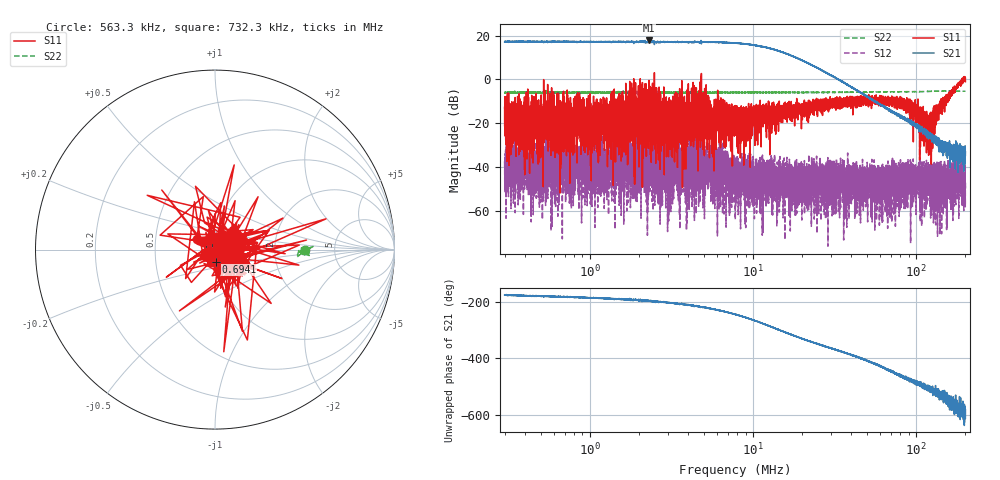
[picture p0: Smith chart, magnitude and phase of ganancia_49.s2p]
# Hz S DB R 50
! CMT, M5065, 19127446, 24.2.4/2
! Date: 11/1/2024 3:42:13 PM
! Data: Format (Calibration Info)
! Freq	S11:dB/Ang(F2)	S21:dB/Ang(F2)	S12:dB/Ang(F2)	S22:dB/Ang(F2)
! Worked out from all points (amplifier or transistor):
!   9000 points, 300 kHz to 200 MHz, reference 50 ohm
!   highest |S21| = 17.8 dB at 2.3 MHz (marker M1)
!   |S21| within 3 dB of that: start of sweep to 11.5 MHz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
!   unconditionally stable (mu >= 1): 2.614 MHz to 3.442 MHz; 5.049 MHz to 190.6 MHz; 190.8 MHz to 192.5 MHz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
!   at 886.8 kHz: K = 4.67, MAG = 18.5 dB, |S12| = -39.1 dB
!   at 7.749 MHz: K = 10.55, MAG = 18.2 dB, |S12| = -46.2 dB
!   at 200 MHz: K = 1133.56, MAG = -25.0 dB, |S12| = -50.1 dB
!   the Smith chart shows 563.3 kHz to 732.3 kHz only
!   S11 on the Smith chart (normalised r, x): 563.3 kHz: 0.81, +0.10; 694.1 kHz: 1.00, -0.14; 732.3 kHz: 1.30, +0.05
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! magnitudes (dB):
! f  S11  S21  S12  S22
! 300 kHz  -12.8  17.1  -37.4  -6.0
! 317.4 kHz  -6.2  16.9  -44.3  -6.0
! 501.1 kHz  -12.7  17.2  -36.4  -5.9
! 563.3 kHz  -18.6  17.3  -40.0  -6.0
! 694.1 kHz  -23.2  17.3  -45.6  -6.0
! 732.3 kHz  -17.5  17.2  -51.9  -6.0
! 886.8 kHz  -18.9  17.1  -39.1  -6.1
! 1.25 MHz  -24.8  17.2  -38.8  -5.9
! 1.708 MHz  -36.5  17.2  -47.5  -6.0
! 2.3 MHz  -0.5  17.8  -22.2  -6.8
! 2.621 MHz  -17.3  17.1  -40.7  -5.9
! 3.337 MHz  -12.7  17.0  -27.2  -6.1
! 3.96 MHz  -30.5  17.1  -46.1  -6.0
! 4.717 MHz  -24.3  17.0  -39.8  -6.0
! 7.749 MHz  -12.0  16.7  -46.2  -6.0
! 22.91 MHz  -11.9  6.5  -46.5  -6.0
! 67.71 MHz  -9.6  -13.9  -44.7  -5.7
! 87.44 MHz  -9.3  -18.2  -50.2  -5.7
! 120.9 MHz  -18.9  -26.7  -52.1  -5.5
! 149.8 MHz  -10.5  -29.2  -41.8  -5.3
! 188.5 MHz  -1.3  -37.0  -39.0  -5.4
! 200 MHz  -1.1  -33.1  -50.1  -5.4
